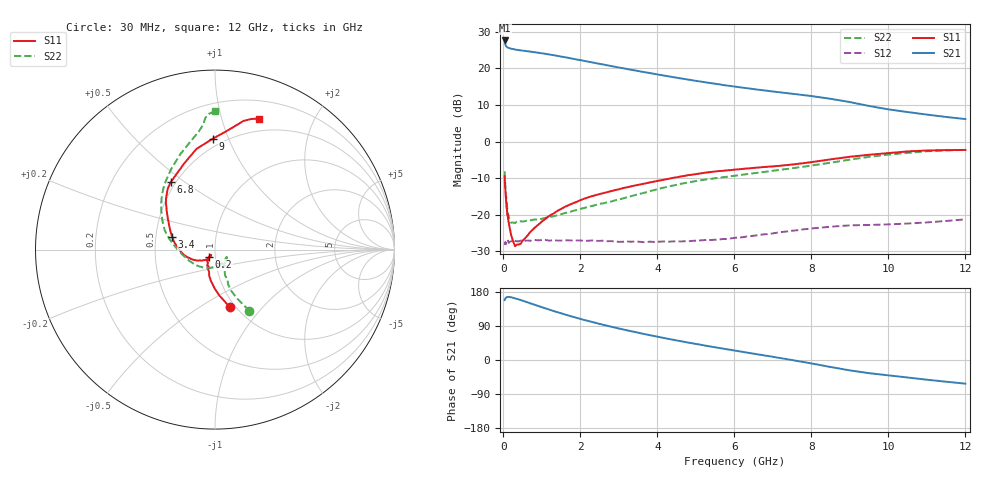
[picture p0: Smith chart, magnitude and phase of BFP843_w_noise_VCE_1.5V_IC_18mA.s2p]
! Infineon Technologies  Discrete & RF Semiconductors
! BFP843
! VCE =  1.5 V,  IC =  18 mA
! Common Emitter S-Parameters:  Aug 2013
# GHz  S  MA  R  50
!  f  S11  S21  S12  S22
! GHz  MAG  ANG  MAG  ANG  MAG  ANG  MAG  ANG
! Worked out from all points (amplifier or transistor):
!   103 points, 30 MHz to 12 GHz, reference 50 ohm
!   highest |S21| = 27.7 dB at 30 MHz (marker M1)
!   |S21| within 3 dB of that: start of sweep to 657.2 MHz
!   unconditionally stable (mu >= 1): 124.7 MHz to 10.87 GHz
!   at 400 MHz: K = 1.03, MAG = 25.1 dB, |S12| = -27.3 dB
!   at 3.7 GHz: K = 1.39, MAG = 19.5 dB, |S12| = -27.6 dB
!   at 12 GHz: K = 0.87, MSG = 13.7 dB, |S12| = -21.3 dB
!   lowest NFmin = 1.02 dB at 450 MHz
!   S11 on the Smith chart (normalised r, x): 30 MHz: 0.94, -0.68; 200 MHz: 0.93, -0.08; 3.4 GHz: 0.61, +0.09; 6.8 GHz: 0.47, +0.44; 9 GHz: 0.44, +0.88; 12 GHz: 0.37, +1.33
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0.03  0.3324 -75.4  24.19 158.1  0.0385 24.6  0.3923 -60.7
0.04  0.2561 -84.7  22.3 159.9  0.0403 21.7  0.3019 -65.4
0.05  0.2147 -90.8  21.28 162.7  0.042 15.2  0.2477 -68.5
0.07  0.1517 -102.1  20.1 164.8  0.0419 15.3  0.1801 -67.2
0.1  0.0994 -111.2  19.46 166.2  0.0413 8.6  0.1179 -63.9
0.13  0.0805 -120.1  19.21 166.6  0.0417 10.4  0.0948 -59.5
0.2  0.0526 -129.6  18.61 165.5  0.0432 5.5  0.0775 -43.1
0.7  0.0581 -126.7  17.01 149.5  0.044 1.5  0.0835 -49.9
1.1  0.0884 -137.9  15.84 135.9  0.0449 0.4  0.0907 -76.1
1.3  0.1034 -144.7  15.2 129.3  0.0448 -0.1  0.0952 -88.5
1.6  0.1281 -153.0  14.26 120.0  0.0445 -0.7  0.1054 -105.2
2.1  0.165 -166.9  12.7 105.6  0.0437 -1.2  0.1232 -128.5
2.7  0.2035 178.6  11.04 90.3  0.0432 -1.9  0.1473 -150.6
3.4  0.2492 163.5  9.442 74.2  0.0428 -0.4  0.184 -171.3
4.1  0.2958 150.4  8.122 59.5  0.0428 1.2  0.2301 173.7
5  0.3589 139.0  6.781 42.3  0.044 4.6  0.2878 161.4
6.1  0.4166 130.0  5.568 23.4  0.0486 8.5  0.3451 148.7
6.8  0.4489 123.1  4.993 11.7  0.0539 8.9  0.385 140.9
8.5  0.5705 100.4  3.846 -18.5  0.0683 1.5  0.5136 118.1
9  0.6189 91.0  3.47 -27.4  0.0713 -2.1  0.5661 109.9
10.5  0.7335 77.6  2.534 -46.2  0.0755 -8.6  0.6999 95.4
12  0.7676 71.3  2.032 -62.5  0.0861 -15.4  0.771 90.1
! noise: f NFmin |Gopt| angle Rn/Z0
0.45  1.02  0.09  -173  0.03
0.9  1.03  0.1  -164  0.07
1.5  1.05  0.1  -156  0.14
1.9  1.06  0.1  -147  0.2
2.4  1.09  0.1  -134  0.26
3.5  1.13  0.09  -117  0.31
5.5  1.23  0.23  -112  0.38
10  1.81  0.51  -62  0.52
